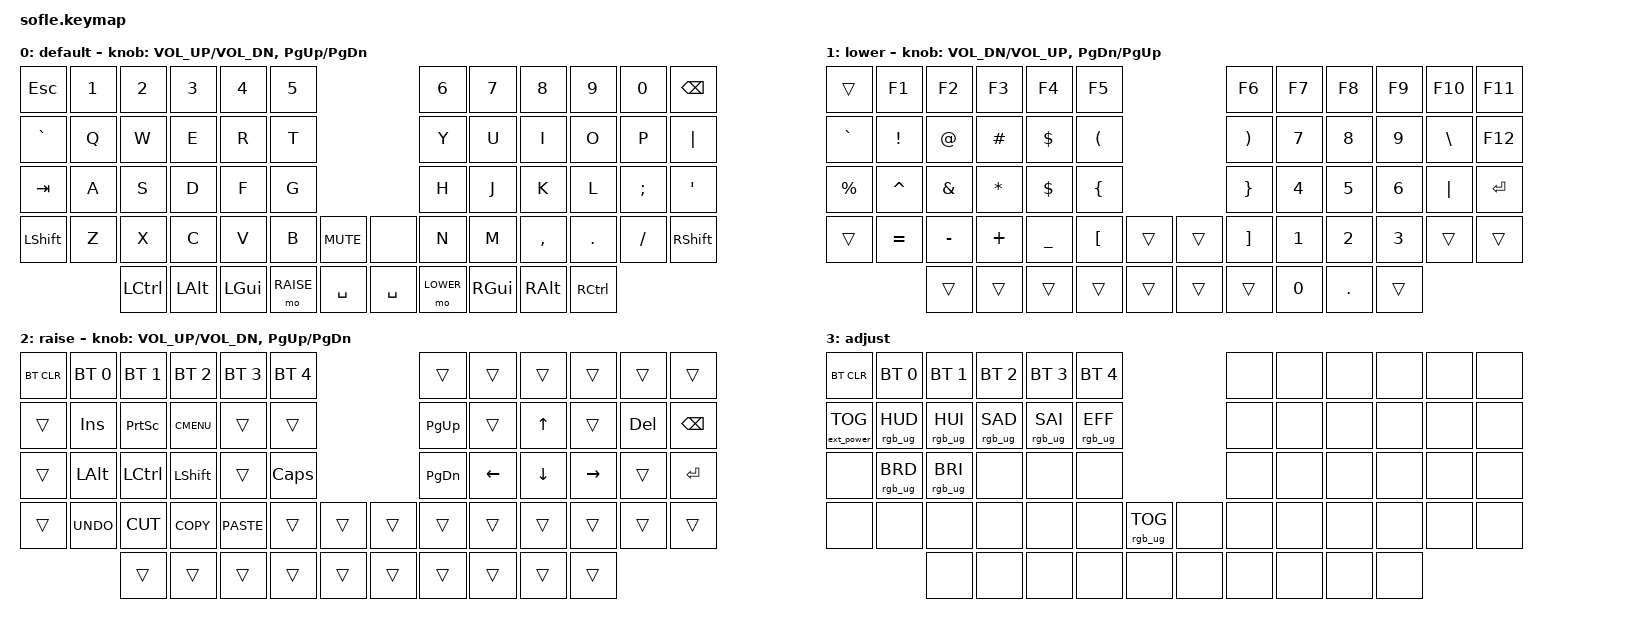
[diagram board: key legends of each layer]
/*
 * Copyright (c) 2020 The ZMK Contributors
 *
 * SPDX-License-Identifier: MIT
 */

#include <behaviors.dtsi>
#include <dt-bindings/zmk/bt.h>
#include <dt-bindings/zmk/ext_power.h>
#include <dt-bindings/zmk/keys.h>
#include <dt-bindings/zmk/rgb.h>

#define BASE 0
#define LOWER 1
#define RAISE 2
#define ADJUST 3

/ {
    behaviors {
        hm: homerow_mods {
            compatible = "zmk,behavior-hold-tap";
            label = "HOMEROW_MODS";
            bindings = <&kp>, <&kp>;

            #binding-cells = <2>;
            tapping-term-ms = <200>;
            flavor = "tap-preferred";
            require-prior-idle-ms = <125>;
            quick-tap-ms = <200>;
        };

        shifthr: shifthr {
            compatible = "zmk,behavior-hold-tap";
            label = "SHIFTHR";
            bindings = <&kp>, <&kp>;

            #binding-cells = <2>;
            tapping-term-ms = <185>;
            flavor = "tap-preferred";
            quick-tap-ms = <185>;
        };

        weak: weak {
            compatible = "zmk,behavior-hold-tap";
            label = "WEAK";
            bindings = <&kp>, <&kp>;

            #binding-cells = <2>;
            tapping-term-ms = <230>;
            flavor = "tap-preferred";
            require-prior-idle-ms = <125>;
            quick-tap-ms = <230>;
        };

        backspace: backspace {
            compatible = "zmk,behavior-tap-dance";
            label = "BACKSPACE";
            #binding-cells = <0>;
            bindings = <&kp BACKSPACE>, <&kp LC(BACKSPACE)>;
        };
    };

    combos {
        compatible = "zmk,combos";

        caps {
            bindings = <&kp CAPS>;
            key-positions = <16 19>;
        };

        jk_fix {
            bindings = <&kp ESCAPE>;
            key-positions = <31 32>;
        };

        under {
            bindings = <&kp UNDER>;
            key-positions = <28 31>;
        };

        dash {
            bindings = <&kp MINUS>;
            key-positions = <4 7>;
        };
    };
};

/ {
    // Activate ADJUST layer by pressing raise and lower

    conditional_layers {
        compatible = "zmk,conditional-layers";

        adjust_layer {
            if-layers = <LOWER RAISE>;
            then-layer = <ADJUST>;
        };
    };

    keymap {
        compatible = "zmk,keymap";

        default_layer {
            display-name = "default";

            // ------------------------------------------------------------------------------------------------------------
            // |   `   |  1  |  2  |  3   |  4   |  5   |                   |  6   |  7    |  8    |  9   |   0   |       |
            // |  ESC  |  Q  |  W  |  E   |  R   |  T   |                   |  Y   |  U    |  I    |  O   |   P   | BKSPC |
            // |  TAB  |  A  |  S  |  D   |  F   |  G   |                   |  H   |  J    |  K    |  L   |   ;   |   '   |
            // | SHIFT |  Z  |  X  |  C   |  V   |  B   |  MUTE  |  |       |  N   |  M    |  ,    |  .   |   /   | SHIFT |
            //               | GUI | ALT  | CTRL | LOWER|  ENTER |  | SPACE | RAISE| CTRL  | ALT   | GUI  |

            bindings = <
&kp ESC    &kp N1  &kp N2     &kp N3    &kp N4    &kp N5                              &kp N6     &kp N7    &kp N8     &kp N9     &kp N0    &kp BSPC
&kp GRAVE  &kp Q   &kp W      &kp E     &kp R     &kp T                               &kp Y      &kp U     &kp I      &kp O      &kp P     &kp PIPE
&kp TAB    &kp A   &kp S      &kp D     &kp F     &kp G                               &kp H      &kp J     &kp K      &kp L      &kp SEMI  &kp SQT
&kp LSHFT  &kp Z   &kp X      &kp C     &kp V     &kp B      &kp C_MUTE    &none      &kp N      &kp M     &kp COMMA  &kp DOT    &kp FSLH  &kp RSHFT
                   &kp LCTRL  &kp LALT  &kp LGUI  &mo RAISE  &kp SPACE     &kp SPACE  &mo LOWER  &kp RGUI  &kp RALT   &kp RCTRL
            >;

            sensor-bindings = <&inc_dec_kp C_VOL_UP C_VOL_DN &inc_dec_kp PG_UP PG_DN>;
        };

        lower_layer {
            display-name = "lower";

            // TODO: Some binds are waiting for shifted keycode support.
            // ------------------------------------------------------------------------------------------------------------
            // |       |  F1 |  F2 |  F3  |  F4  |  F5  |                   |  F6  |  F7   |  F8   |  F9  |  F10  |  F11  |
            // |   `   |  1  |  2  |  3   |  4   |  5   |                   |  6   |  7    |  8    |  9   |   0   |  F12  |
            // |       |  !  |  @  |  #   |  $   |  %   |                   |  ^   |  &    |  *    |  (   |   )   |   |   |
            // |       |  =  |  -  |  +   |  {   |  }   |        |  |       |  [   |  ]    |  ;    |  :   |   \   |       |
            //               |     |      |      |      |        |  |       |      |       |       |      |

            bindings = <
&trans     &kp F1     &kp F2     &kp F3     &kp F4          &kp F5                      &kp F6    &kp F7        &kp F8      &kp F9  &kp F10        &kp F11
&kp GRAVE  &kp EXCL   &kp AT     &kp HASH   &kp DLLR        &kp LPAR                    &kp RPAR  &kp N7        &kp N8      &kp N9  &kp BACKSLASH  &kp F12
&kp PRCNT  &kp CARET  &kp AMPS   &kp ASTRK  &kp DLLR        &kp LBRC                    &kp RBRC  &kp NUMBER_4  &kp N5      &kp N6  &kp PIPE       &kp ENTER
&trans     &kp EQUAL  &kp MINUS  &kp PLUS   &kp UNDERSCORE  &kp LBKT  &trans    &trans  &kp RBKT  &kp N1        &kp N2      &kp N3  &trans         &trans
                      &trans     &trans     &trans          &trans    &trans    &trans  &trans    &kp NUMBER_0  &kp PERIOD  &trans
            >;

            sensor-bindings =
                <&inc_dec_kp C_VOL_DN C_VOL_UP>,
                <&inc_dec_kp PG_DN PG_UP>;
        };

        raise_layer {
            display-name = "raise";

            // ------------------------------------------------------------------------------------------------------------
            // | BTCLR | BT1  | BT2  |  BT3  |  BT4  |  BT5 |                |      |      |       |      |       |       |
            // |       | INS  | PSCR | GUI   |       |      |                | PGUP |      |   ^   |      |       |       |
            // |       | ALT  | CTRL | SHIFT |       | CAPS |                | PGDN |   <- |   v   |  ->  |  DEL  | BKSPC |
            // |       | UNDO | CUT  | COPY  | PASTE |      |      |  |      |      |      |       |      |       |       |
            //                |      |       |       |      |      |  |      |      |      |       |      |

            bindings = <
&bt BT_CLR  &bt BT_SEL 0  &bt BT_SEL 1  &bt BT_SEL 2  &bt BT_SEL 3  &bt BT_SEL 4                    &trans     &trans    &trans    &trans     &trans   &trans
&trans      &kp INS       &kp PSCRN     &kp K_CMENU   &trans        &trans                          &kp PG_UP  &trans    &kp UP    &trans     &kp DEL  &kp BACKSPACE
&trans      &kp LALT      &kp LCTRL     &kp LSHFT     &trans        &kp CLCK                        &kp PG_DN  &kp LEFT  &kp DOWN  &kp RIGHT  &trans   &kp ENTER
&trans      &kp K_UNDO    &kp K_CUT     &kp K_COPY    &kp K_PASTE   &trans        &trans    &trans  &trans     &trans    &trans    &trans     &trans   &trans
                          &trans        &trans        &trans        &trans        &trans    &trans  &trans     &trans    &trans    &trans
            >;

            sensor-bindings = <&inc_dec_kp C_VOL_UP C_VOL_DN &inc_dec_kp PG_UP PG_DN>;
        };

        adjust_layer {
            // ----------------------------------------------------------------------------------------------------------------------------
            // | BTCLR  |  BT1    |  BT2    |   BT3   |   BT4   |   BT5   |                  |      |      |       |      |       |       |
            // | EXTPWR | RGB_HUD | RGB_HUI | RGB_SAD | RGB_SAI | RGB_EFF |                  |      |      |       |      |       |       |
            // |        | RGB_BRD | RGB_BRI |         |         |         |                  |      |      |       |      |       |       |
            // |        |         |         |         |         |         | RGB_TOG | |      |      |      |       |      |       |       |
            //                    |         |         |         |         |         | |      |      |      |       |      |

            display-name = "adjust";
            bindings = <
&bt BT_CLR         &bt BT_SEL 0     &bt BT_SEL 1     &bt BT_SEL 2     &bt BT_SEL 3     &bt BT_SEL 4                               &none  &none  &none  &none  &none  &none
&ext_power EP_TOG  &rgb_ug RGB_HUD  &rgb_ug RGB_HUI  &rgb_ug RGB_SAD  &rgb_ug RGB_SAI  &rgb_ug RGB_EFF                            &none  &none  &none  &none  &none  &none
&none              &rgb_ug RGB_BRD  &rgb_ug RGB_BRI  &none            &none            &none                                      &none  &none  &none  &none  &none  &none
&none              &none            &none            &none            &none            &none            &rgb_ug RGB_TOG    &none  &none  &none  &none  &none  &none  &none
                                    &none            &none            &none            &none            &none              &none  &none  &none  &none  &none
            >;
        };
    };
};
